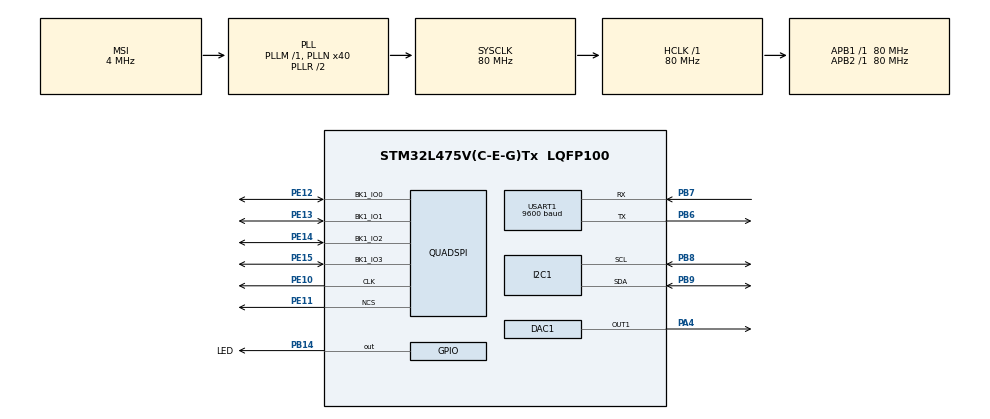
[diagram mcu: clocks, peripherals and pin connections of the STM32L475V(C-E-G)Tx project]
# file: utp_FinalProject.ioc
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DAC1.DAC_Trigger-DAC_OUT1=DAC_TRIGGER_T2_TRGO
Dma.DAC_CH1.0.Direction=DMA_MEMORY_TO_PERIPH
Dma.DAC_CH1.0.Instance=DMA1_Channel3
Dma.DAC_CH1.0.MemDataAlignment=DMA_MDATAALIGN_WORD
Dma.DAC_CH1.0.MemInc=DMA_MINC_ENABLE
Dma.DAC_CH1.0.Mode=DMA_NORMAL
Dma.DAC_CH1.0.PeriphDataAlignment=DMA_PDATAALIGN_WORD
Dma.DAC_CH1.0.PeriphInc=DMA_PINC_DISABLE
Dma.DAC_CH1.0.Priority=DMA_PRIORITY_LOW
Dma.Request0=DAC_CH1
I2C1.Timing=0x10909CEC
Mcu.Family=STM32L4
Mcu.Name=STM32L475V(C-E-G)Tx
Mcu.Package=LQFP100
NVIC.DMA1_Channel3_IRQn=true\:0\:0\:false\:false\:true\:false\:true
NVIC.PriorityGroup=NVIC_PRIORITYGROUP_4
NVIC.TIM2_IRQn=true\:2\:0\:true\:false\:true\:true\:true
PA13\ (JTMS-SWDIO).Signal=SYS_JTMS-SWDIO
PA4.Signal=COMP_DAC11_group
PB14.GPIO_Label=LED
PB14.Signal=GPIO_Output
PB3\ (JTDO-TRACESWO).Signal=SYS_JTDO-SWO
PB6.Mode=Asynchronous
PB6.Signal=USART1_TX
PB7.Mode=Asynchronous
PB7.Signal=USART1_RX
PB8.Mode=I2C
PB8.Signal=I2C1_SCL
PB9.Mode=I2C
PB9.Signal=I2C1_SDA
PE10.Mode=Single Bank
PE10.Signal=QUADSPI_CLK
PE11.Mode=Single Bank
PE11.Signal=QUADSPI_NCS
PE12.Mode=Single Bank
PE12.Signal=QUADSPI_BK1_IO0
PE13.Mode=Single Bank
PE13.Signal=QUADSPI_BK1_IO1
PE14.Mode=Single Bank
PE14.Signal=QUADSPI_BK1_IO2
PE15.Mode=Single Bank
PE15.Signal=QUADSPI_BK1_IO3
ProjectManager.HeapSize=0x200
ProjectManager.StackSize=0x400
ProjectManager.TargetToolchain=STM32CubeIDE
RCC.ADCFreq_Value=48000000
RCC.AHBFreq_Value=80000000
RCC.APB1Freq_Value=80000000
RCC.APB1TimFreq_Value=80000000
RCC.APB2Freq_Value=80000000
RCC.APB2TimFreq_Value=80000000
RCC.CortexFreq_Value=80000000
RCC.HCLKFreq_Value=80000000
RCC.HSE_VALUE=8000000
RCC.HSI_VALUE=16000000
RCC.LSE_VALUE=32768
RCC.MSI_VALUE=4000000
RCC.PLLN=40
RCC.PLLSAI1N=24
RCC.SYSCLKFreq_VALUE=80000000
RCC.SYSCLKSource=RCC_SYSCLKSOURCE_PLLCLK
RCC.USBFreq_Value=48000000
RCC.VCOOutputFreq_Value=160000000
SH.COMP_DAC11_group.0=DAC1_OUT1,DAC_OUT1
TIM2.Period=1814
TIM2.Prescaler=0
TIM2.TIM_MasterOutputTrigger=TIM_TRGO_UPDATE
TIM3.Period=7256
TIM3.TIM_MasterOutputTrigger=TIM_TRGO_UPDATE
USART1.BaudRate=9600
USART1.VirtualMode-Asynchronous=VM_ASYNC
VP_TIM2_VS_ClockSourceINT.Mode=Internal
VP_TIM3_VS_ClockSourceINT.Mode=Internal
board=B-L475E-IOT01A1

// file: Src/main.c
/* USER CODE BEGIN Header */
/**
 ******************************************************************************
 * @file           : main.c
 * @brief          : Main program body
 ******************************************************************************
 * @attention
 *
 * <h2><center>&copy; Copyright (c) 2020 STMicroelectronics.
 * All rights reserved.</center></h2>
 *
 * This software component is licensed by ST under BSD 3-Clause license,
 * the "License"; You may not use this file except in compliance with the
 * License. You may obtain a copy of the License at:
 *                        opensource.org/licenses/BSD-3-Clause
 *
 ******************************************************************************
 */
/* USER CODE END Header */
#include "main.h"

/* USER CODE BEGIN Includes */
#include "stdio.h"
#include "stm32l475e_iot01_hsensor.h"
#include "stm32l475e_iot01_gyro.h"
#include "stm32l475e_iot01_accelero.h"
#include "stm32l475e_iot01_tsensor.h"
#define ARM_MATH_CM4
#include "arm_math.h"
#include "stm32l475e_iot01_qspi.h"
/* USER CODE END Includes */

DAC_HandleTypeDef hdac1;
DMA_HandleTypeDef hdma_dac_ch1;

I2C_HandleTypeDef hi2c1;

QSPI_HandleTypeDef hqspi;

TIM_HandleTypeDef htim2;
TIM_HandleTypeDef htim3;

UART_HandleTypeDef huart1;

void SystemClock_Config(void);
static void MX_GPIO_Init(void);
static void MX_DMA_Init(void);
static void MX_I2C1_Init(void);
static void MX_USART1_UART_Init(void);
static void MX_TIM2_Init(void);
static void MX_DAC1_Init(void);
static void MX_QUADSPI_Init(void);
static void MX_TIM3_Init(void);

/* USER CODE BEGIN 0 */
int16_t acceleroReading[3] = {0,0,0};
int16_t Sample_X;
int16_t Sample_Y;
int16_t Sample_Z;

uint8_t soundBuffer[22050];
uint8_t soundBufferDac[44100];
uint8_t this_note = 0;
uint8_t beepTwice = 0;

int8_t calibrated = 0;
int16_t sstatex;
int16_t sstatey;
int16_t sstatez;

int16_t accelerationx[2] = {0,0};
int16_t accelerationy[2] = {0,0};
int16_t accelerationz[2] = {0,0};

int8_t is_checking = 0;

int16_t velocityx[2] = {0,0};
int pushupAim = 20; //set the aim for pushups
int pushupCur = 0;  //keep track of the pushup done already

float humidityReading = 0;
float temperatureReading = 0;
float gyroscopeReading[3] = {0,0,0};

char humidityStr[20];
char temperatureStr[20];
char accelerometerStr[30];
char beepStr[30];
char gyroscopeStr[30];
char buffer[100] = {0};
int acceleration[3][100] = {0};
char AxBuff[60];
char AyBuff[20];
char AzBuff[20];
//int counter = 0;

//define constant variables:
uint8_t acc_y_ref = 10;
uint8_t num_pushups = 0;
uint8_t integral_y = 0;

//for calories calculation
double weight = 50;
double armLength = 0.25;

//for DAC & flash
#define pi 3.14159265
uint8_t play[22050] = {0};
uint8_t numToBeep = 0;

//for push-up counter
int integral_velo = 0;
int arr[100] = { };
int calibratedz = 0;
int16_t counter = 0;
int16_t target = 6;
/* USER CODE END 0 */

int main(void)
{

  /* MCU Configuration--------------------------------------------------------*/

  /* Reset of all peripherals, Initializes the Flash interface and the Systick. */
  HAL_Init();

  /* Configure the system clock */
  SystemClock_Config();

  /* Initialize all configured peripherals */
  MX_GPIO_Init();
  MX_DMA_Init();
  MX_I2C1_Init();
  MX_USART1_UART_Init();
  MX_TIM2_Init();
  MX_DAC1_Init();
  MX_QUADSPI_Init();
  MX_TIM3_Init();
  /* USER CODE BEGIN 2 */
	//I2C Sensor Initialization
	BSP_ACCELERO_Init();
	BSP_TSENSOR_Init();
	BSP_GYRO_Init();
	BSP_HSENSOR_Init();

	// Start the timer

	BSP_QSPI_Init();

	//generate wave
	uint32_t note_c6[42];
	uint32_t note_e6[33];
	uint32_t note_g6[28];
	uint32_t note_c7[21];
	uint32_t note_e7[17];
	uint32_t note_g7[14];

	// Tone C6
	for (uint8_t i=0; i<42;i++) {
		note_c6[i] = ((arm_sin_f32(i*2*PI/42) + 1)*((0xFF + 1)/2)) / 2;
	}

	// Tone E6
	for (uint8_t i=0; i<33;i++) {
		note_e6[i] = ((arm_sin_f32(i*2*PI/33) + 1)*((0xFF + 1)/2)) / 2;
	}

	// Tone G6
	for (uint8_t i=0; i<28;i++) {
		note_g6[i] = ((arm_sin_f32(i*2*PI/28) + 1)*((0xFF + 1)/2)) / 2;
	}

	// Tone C7
	for (uint8_t i=0; i<21;i++) {
		note_c7[i] = ((arm_sin_f32(i*2*PI/21) + 1)*((0xFF + 1)/2)) / 2;
	}

	// Tone E7
	for (uint8_t i=0; i<17;i++) {
		note_e7[i] = ((arm_sin_f32(i*2*PI/17) + 1)*((0xFF + 1)/2)) / 2;
	}

	// Tone G7
	for (uint8_t i=0; i<14;i++) {
		note_g7[i] = ((arm_sin_f32(i*2*PI/14) + 1)*((0xFF + 1)/2)) / 2;
	}

	/*
	 * Prepare the Flash - note: probably need quite a few blocks
	 */
	BSP_QSPI_Erase_Block(0);
	BSP_QSPI_Erase_Block(64000);
	BSP_QSPI_Erase_Block(128000);

	/*
	 * Write the notes into flash
	 */

	// C6
	for(int i=0; i<526; i++){
		for(int j=0; j<42; j++){
			soundBuffer[42*i+j] = note_c6[j] % 256;
		}
	}
	BSP_QSPI_Write((uint8_t*)&soundBuffer[0], 11025*0, 22050);

	// E6
	for(int i=0; i<668; i++){
		for(int j=0; j<33; j++){
			soundBuffer[i*33+j] = note_e6[j] % 256;
		}
	}
	BSP_QSPI_Write((uint8_t*)&soundBuffer[0], 22050*1, 22050);

	// G6
	for(int i=0; i<786; i++){
		for(int j=0; j<28; j++){
			soundBuffer[i*28+j] = note_g6[j] % 256;
		}
	}
	BSP_QSPI_Write((uint8_t*)&soundBuffer[0], 22050*2, 22050);

	// C7
	for(int i=0; i<1050; i++){
		for(int j=0; j<21; j++){
			soundBuffer[i*21+j] = note_c7[j] % 256;
		}
	}
	BSP_QSPI_Write((uint8_t*)&soundBuffer[0], 22050*3, 22050);

	// E7
	for(int i=0; i<1296; i++){
		for(int j=0; j<17; j++){
			soundBuffer[i*17+j] = note_e7[j] % 256;
		}
	}
	BSP_QSPI_Write((uint8_t*)&soundBuffer[0], 22050*4, 22050);

	// G7
	for(int i=0; i<1574; i++){
		for(int j=0; j<14; j++){
			soundBuffer[i*14+j] = note_g7[j] % 256;
		}
	}
	BSP_QSPI_Write((uint8_t*)&soundBuffer[0], 22050*5, 22050);

	// Prepare to play the first two notes
	BSP_QSPI_Read((uint8_t *)&soundBufferDac[0], 0, 22050);
	BSP_QSPI_Read((uint8_t *)&soundBufferDac[22050], 22050, 22050);

	sprintf(accelerometerStr, "Ready! \n");
	HAL_UART_Transmit(&huart1, (uint8_t*)accelerometerStr, sizeof(accelerometerStr), 100);

	// Beep twice to indicate it's ready
	HAL_DAC_Start_DMA(&hdac1, DAC_CHANNEL_1, (uint32_t *)soundBufferDac, 11025, DAC_ALIGN_8B_R);

	// Start the measurement
	HAL_TIM_Base_Start_IT(&htim2);

  /* USER CODE END 2 */

  /* Infinite loop */
	while (1)
	{

	}
}

void SystemClock_Config(void)
{
  RCC_OscInitTypeDef RCC_OscInitStruct = {0};
  RCC_ClkInitTypeDef RCC_ClkInitStruct = {0};
  RCC_PeriphCLKInitTypeDef PeriphClkInit = {0};

  /** Initializes the RCC Oscillators according to the specified parameters
  * in the RCC_OscInitTypeDef structure.
  */
  RCC_OscInitStruct.OscillatorType = RCC_OSCILLATORTYPE_MSI;
  RCC_OscInitStruct.MSIState = RCC_MSI_ON;
  RCC_OscInitStruct.MSICalibrationValue = 0;
  RCC_OscInitStruct.MSIClockRange = RCC_MSIRANGE_6;
  RCC_OscInitStruct.PLL.PLLState = RCC_PLL_ON;
  RCC_OscInitStruct.PLL.PLLSource = RCC_PLLSOURCE_MSI;
  RCC_OscInitStruct.PLL.PLLM = 1;
  RCC_OscInitStruct.PLL.PLLN = 40;
  RCC_OscInitStruct.PLL.PLLP = RCC_PLLP_DIV7;
  RCC_OscInitStruct.PLL.PLLQ = RCC_PLLQ_DIV2;
  RCC_OscInitStruct.PLL.PLLR = RCC_PLLR_DIV2;
  if (HAL_RCC_OscConfig(&RCC_OscInitStruct) != HAL_OK)
  {
    Error_Handler();
  }
  /** Initializes the CPU, AHB and APB buses clocks
  */
  RCC_ClkInitStruct.ClockType = RCC_CLOCKTYPE_HCLK|RCC_CLOCKTYPE_SYSCLK
                              |RCC_CLOCKTYPE_PCLK1|RCC_CLOCKTYPE_PCLK2;
  RCC_ClkInitStruct.SYSCLKSource = RCC_SYSCLKSOURCE_PLLCLK;
  RCC_ClkInitStruct.AHBCLKDivider = RCC_SYSCLK_DIV1;
  RCC_ClkInitStruct.APB1CLKDivider = RCC_HCLK_DIV1;
  RCC_ClkInitStruct.APB2CLKDivider = RCC_HCLK_DIV1;

  if (HAL_RCC_ClockConfig(&RCC_ClkInitStruct, FLASH_LATENCY_4) != HAL_OK)
  {
    Error_Handler();
  }
  PeriphClkInit.PeriphClockSelection = RCC_PERIPHCLK_USART1|RCC_PERIPHCLK_I2C1;
  PeriphClkInit.Usart1ClockSelection = RCC_USART1CLKSOURCE_PCLK2;
  PeriphClkInit.I2c1ClockSelection = RCC_I2C1CLKSOURCE_PCLK1;
  if (HAL_RCCEx_PeriphCLKConfig(&PeriphClkInit) != HAL_OK)
  {
    Error_Handler();
  }
  /** Configure the main internal regulator output voltage
  */
  if (HAL_PWREx_ControlVoltageScaling(PWR_REGULATOR_VOLTAGE_SCALE1) != HAL_OK)
  {
    Error_Handler();
  }
}

static void MX_DAC1_Init(void)
{

  DAC_ChannelConfTypeDef sConfig = {0};

  /** DAC Initialization
  */
  hdac1.Instance = DAC1;
  if (HAL_DAC_Init(&hdac1) != HAL_OK)
  {
    Error_Handler();
  }
  /** DAC channel OUT1 config
  */
  sConfig.DAC_SampleAndHold = DAC_SAMPLEANDHOLD_DISABLE;
  sConfig.DAC_Trigger = DAC_TRIGGER_T2_TRGO;
  sConfig.DAC_OutputBuffer = DAC_OUTPUTBUFFER_ENABLE;
  sConfig.DAC_ConnectOnChipPeripheral = DAC_CHIPCONNECT_DISABLE;
  sConfig.DAC_UserTrimming = DAC_TRIMMING_FACTORY;
  if (HAL_DAC_ConfigChannel(&hdac1, &sConfig, DAC_CHANNEL_1) != HAL_OK)
  {
    Error_Handler();
  }

}

static void MX_I2C1_Init(void)
{

  hi2c1.Instance = I2C1;
  hi2c1.Init.Timing = 0x10909CEC;
  hi2c1.Init.OwnAddress1 = 0;
  hi2c1.Init.AddressingMode = I2C_ADDRESSINGMODE_7BIT;
  hi2c1.Init.DualAddressMode = I2C_DUALADDRESS_DISABLE;
  hi2c1.Init.OwnAddress2 = 0;
  hi2c1.Init.OwnAddress2Masks = I2C_OA2_NOMASK;
  hi2c1.Init.GeneralCallMode = I2C_GENERALCALL_DISABLE;
  hi2c1.Init.NoStretchMode = I2C_NOSTRETCH_DISABLE;
  if (HAL_I2C_Init(&hi2c1) != HAL_OK)
  {
    Error_Handler();
  }
  /** Configure Analogue filter
  */
  if (HAL_I2CEx_ConfigAnalogFilter(&hi2c1, I2C_ANALOGFILTER_ENABLE) != HAL_OK)
  {
    Error_Handler();
  }
  /** Configure Digital filter
  */
  if (HAL_I2CEx_ConfigDigitalFilter(&hi2c1, 0) != HAL_OK)
  {
    Error_Handler();
  }

}

static void MX_QUADSPI_Init(void)
{

  /* QUADSPI parameter configuration*/
  hqspi.Instance = QUADSPI;
  hqspi.Init.ClockPrescaler = 255;
  hqspi.Init.FifoThreshold = 1;
  hqspi.Init.SampleShifting = QSPI_SAMPLE_SHIFTING_NONE;
  hqspi.Init.FlashSize = 1;
  hqspi.Init.ChipSelectHighTime = QSPI_CS_HIGH_TIME_1_CYCLE;
  hqspi.Init.ClockMode = QSPI_CLOCK_MODE_0;
  if (HAL_QSPI_Init(&hqspi) != HAL_OK)
  {
    Error_Handler();
  }

}

static void MX_TIM2_Init(void)
{

  TIM_ClockConfigTypeDef sClockSourceConfig = {0};
  TIM_MasterConfigTypeDef sMasterConfig = {0};

  htim2.Instance = TIM2;
  htim2.Init.Prescaler = 0;
  htim2.Init.CounterMode = TIM_COUNTERMODE_UP;
  htim2.Init.Period = 1814;
  htim2.Init.ClockDivision = TIM_CLOCKDIVISION_DIV1;
  htim2.Init.AutoReloadPreload = TIM_AUTORELOAD_PRELOAD_DISABLE;
  if (HAL_TIM_Base_Init(&htim2) != HAL_OK)
  {
    Error_Handler();
  }
  sClockSourceConfig.ClockSource = TIM_CLOCKSOURCE_INTERNAL;
  if (HAL_TIM_ConfigClockSource(&htim2, &sClockSourceConfig) != HAL_OK)
  {
    Error_Handler();
  }
  sMasterConfig.MasterOutputTrigger = TIM_TRGO_UPDATE;
  sMasterConfig.MasterSlaveMode = TIM_MASTERSLAVEMODE_DISABLE;
  if (HAL_TIMEx_MasterConfigSynchronization(&htim2, &sMasterConfig) != HAL_OK)
  {
    Error_Handler();
  }

}

static void MX_TIM3_Init(void)
{

  TIM_ClockConfigTypeDef sClockSourceConfig = {0};
  TIM_MasterConfigTypeDef sMasterConfig = {0};

  htim3.Instance = TIM3;
  htim3.Init.Prescaler = 0;
  htim3.Init.CounterMode = TIM_COUNTERMODE_UP;
  htim3.Init.Period = 7256;
  htim3.Init.ClockDivision = TIM_CLOCKDIVISION_DIV1;
  htim3.Init.AutoReloadPreload = TIM_AUTORELOAD_PRELOAD_DISABLE;
  if (HAL_TIM_Base_Init(&htim3) != HAL_OK)
  {
    Error_Handler();
  }
  sClockSourceConfig.ClockSource = TIM_CLOCKSOURCE_INTERNAL;
  if (HAL_TIM_ConfigClockSource(&htim3, &sClockSourceConfig) != HAL_OK)
  {
    Error_Handler();
  }
  sMasterConfig.MasterOutputTrigger = TIM_TRGO_UPDATE;
  sMasterConfig.MasterSlaveMode = TIM_MASTERSLAVEMODE_DISABLE;
  if (HAL_TIMEx_MasterConfigSynchronization(&htim3, &sMasterConfig) != HAL_OK)
  {
    Error_Handler();
  }

}

static void MX_USART1_UART_Init(void)
{

  huart1.Instance = USART1;
  huart1.Init.BaudRate = 9600;
  huart1.Init.WordLength = UART_WORDLENGTH_8B;
  huart1.Init.StopBits = UART_STOPBITS_1;
  huart1.Init.Parity = UART_PARITY_NONE;
  huart1.Init.Mode = UART_MODE_TX_RX;
  huart1.Init.HwFlowCtl = UART_HWCONTROL_NONE;
  huart1.Init.OverSampling = UART_OVERSAMPLING_16;
  huart1.Init.OneBitSampling = UART_ONE_BIT_SAMPLE_DISABLE;
  huart1.AdvancedInit.AdvFeatureInit = UART_ADVFEATURE_NO_INIT;
  if (HAL_UART_Init(&huart1) != HAL_OK)
  {
    Error_Handler();
  }

}

static void MX_DMA_Init(void)
{

  /* DMA controller clock enable */
  __HAL_RCC_DMA1_CLK_ENABLE();

  /* DMA interrupt init */
  /* DMA1_Channel3_IRQn interrupt configuration */
  HAL_NVIC_SetPriority(DMA1_Channel3_IRQn, 0, 0);
  HAL_NVIC_EnableIRQ(DMA1_Channel3_IRQn);

}

static void MX_GPIO_Init(void)
{
  GPIO_InitTypeDef GPIO_InitStruct = {0};

  /* GPIO Ports Clock Enable */
  __HAL_RCC_GPIOA_CLK_ENABLE();
  __HAL_RCC_GPIOE_CLK_ENABLE();
  __HAL_RCC_GPIOB_CLK_ENABLE();

  /*Configure GPIO pin Output Level */
  HAL_GPIO_WritePin(LED_GPIO_Port, LED_Pin, GPIO_PIN_RESET);

  /*Configure GPIO pin : LED_Pin */
  GPIO_InitStruct.Pin = LED_Pin;
  GPIO_InitStruct.Mode = GPIO_MODE_OUTPUT_PP;
  GPIO_InitStruct.Pull = GPIO_NOPULL;
  GPIO_InitStruct.Speed = GPIO_SPEED_FREQ_LOW;
  HAL_GPIO_Init(LED_GPIO_Port, &GPIO_InitStruct);

}

/* USER CODE BEGIN 4 */
void HAL_TIM_PeriodElapsedCallback(TIM_HandleTypeDef *htim2) {
	readAccelerometer();
}

void beepOnce(){
	BSP_QSPI_Read((uint8_t *)&soundBufferDac[0], 0, 22050);
	HAL_DAC_Start_DMA(&hdac1, DAC_CHANNEL_1, (uint32_t *)soundBufferDac, 5512, DAC_ALIGN_8B_R);
}

void beepMany() {
	numToBeep = counter / target;
	HAL_DAC_Start_DMA(&hdac1, DAC_CHANNEL_1, (uint32_t *)soundBufferDac, 11025, DAC_ALIGN_8B_R);
	sprintf(beepStr, "Congratulations!\n");
	HAL_UART_Transmit(&huart1, (uint8_t*)beepStr, sizeof(beepStr), 100);
}

void getXYZ() {
	int16_t count2 = 0;
	Sample_X = 0;
	do{
		BSP_ACCELERO_AccGetXYZ(acceleroReading);
		Sample_X = Sample_X + (int)acceleroReading[0];
		count2++; // average represents the acceleration of
		// an instant.
	} while (count2!=0x40); // 64 sums of the acceleration sample

	Sample_X = Sample_X >> 6; // division by 64
	Sample_Y = Sample_X >> 6;

	//push up counter
	Sample_Z = (int)acceleroReading[2];
	if(abs(Sample_Z-1032)>100)/*otherwise in noise range*/{
		calibratedz = Sample_Z-1032;
		integral_velo += calibratedz/100;
		if(abs(integral_velo/100 - arr[counter])> 4){
			counter++;
			sprintf(accelerometerStr, "%d th Pushup detected.\n", counter);
			HAL_UART_Transmit(&huart1, (uint8_t*)accelerometerStr, sizeof(accelerometerStr), 100);
			arr[counter] = integral_velo/100;
			if (counter == target) {
				HAL_GPIO_TogglePin(LED_GPIO_Port, LED_Pin);	// toggle LED
			}
			if((counter != 0) && (counter%target) == 0){
				beepMany();
				int8_t times = counter / target;
				sprintf(accelerometerStr, "Achieved %d x the GOAL.\n", times);
				HAL_UART_Transmit(&huart1, (uint8_t*)accelerometerStr, sizeof(accelerometerStr), 100);
				sprintf(accelerometerStr, "Burned %d calories.\n", (int)(weight*armLength*10*counter / 4.184));
				HAL_UART_Transmit(&huart1, (uint8_t*)accelerometerStr, sizeof(accelerometerStr), 100);
			}else{
				beepOnce();
				if ((target-counter) > 0) {
					sprintf(beepStr, "%d more until your goal.\n",(int)(target-counter));
					HAL_UART_Transmit(&huart1, (uint8_t*)beepStr, sizeof(beepStr), 100);
				}
			}

		}
	}
}

void calibrate() {
	int16_t count1 = 0;

	HAL_Delay(3000);

	do {
		getXYZ();
		sstatex = sstatex + Sample_X; // Accumulate Samples
		sstatey = sstatey + Sample_Y;
		sstatez = sstatez + Sample_Z;
		count1++;
	} while (count1 != 0x0400); // 1024 times

	sstatex = sstatex>>10; // division between 1024
	sstatey = sstatey>>10;
	sstatez = sstatez>>10;

	calibrated = 1;

	sprintf(accelerometerStr, "Calibration completed. \n");
	HAL_UART_Transmit(&huart1, (uint8_t*)accelerometerStr, sizeof(accelerometerStr), 100);
}

void readAccelerometer() {

	// get one
	getXYZ();
	accelerationx[0] = Sample_X - sstatex;
	//velocityx[0] = velocityx[1] + accelerationx[1] + ((accelerationx[0] - accelerationx[1])>>1) ;

	// get one
	getXYZ();
	accelerationx[1] = Sample_X - sstatex;
	//velocityx[1] = velocityx[0] + accelerationx[0] + ((accelerationx[1] - accelerationx[0])>>1) ;

	//	if (!is_checking && isMovementDetected()) {
	//		is_checking = 1;
	//		num_pushups++;
	//		sprintf(accelerometerStr, "Pushup detected. %d\n", num_pushups);
	//		HAL_UART_Transmit(&huart1, (uint8_t*)accelerometerStr, sizeof(accelerometerStr), 100);
	//		pushupCur++;
	//		if(pushupCur%pushupAim !=0 ){
	//			beepOnce();
	//		}else{
	//			beepMany();
	//		}
	//	}
	//	is_checking = 0;
}

int isMovementDetected() {
	int16_t accelerationx_f = (accelerationx[0] + accelerationx[1]) / 2;
	if (abs(accelerationx_f) > 100) {
		sprintf(accelerometerStr, "Acceleration %d\n", accelerationx_f);
		HAL_UART_Transmit(&huart1, (uint8_t*)accelerometerStr, sizeof(accelerometerStr), 100);
		return 1;
	}

	return 0;
}

void HAL_DAC_ConvCpltCallbackCh1(DAC_HandleTypeDef * hdac){
	if (numToBeep >= 1) {
		if(this_note == 0) {
			BSP_QSPI_Read((uint8_t *)&soundBufferDac[0], 22050*2, 22050);
			BSP_QSPI_Read((uint8_t *)&soundBufferDac[22050], 22050*3, 22050);
		} else if (this_note == 1) {
			BSP_QSPI_Read((uint8_t *)&soundBufferDac[0], 22050*4, 22050);
			BSP_QSPI_Read((uint8_t *)&soundBufferDac[22050], 22050*5, 22050);
		} else if (this_note == 2) {
			BSP_QSPI_Read((uint8_t *)&soundBufferDac[0], 22050*0, 22050);
			BSP_QSPI_Read((uint8_t *)&soundBufferDac[22050], 22050*1, 22050);
		}

		HAL_DAC_Start_DMA(&hdac1, DAC_CHANNEL_1, (uint32_t *)soundBufferDac, 11025, DAC_ALIGN_8B_R);

		if(this_note < 2){
			this_note++;
		} else {
			this_note = 0;
		}

		numToBeep--;
	}

}

/* USER CODE END 4 */

void Error_Handler(void)
{
}

/************************ (C) COPYRIGHT STMicroelectronics *****END OF FILE****/
